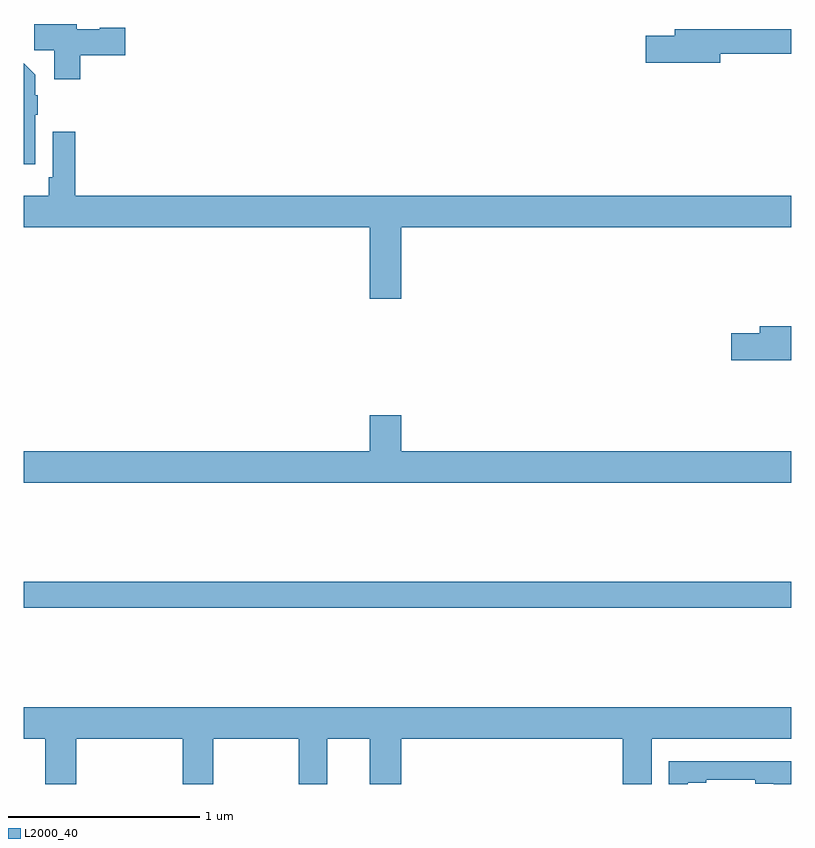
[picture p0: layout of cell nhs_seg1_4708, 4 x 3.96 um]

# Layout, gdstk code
import gdstk
lib = gdstk.Library(unit=1e-6, precision=1e-09)
def R(c, l, rs):  # rectangles x0, y0, x1, y1
    for r in rs: c.add(gdstk.rectangle(r[:2], r[2:], *l))
def P(c, l, *ps):  # polygons
    for p in ps: c.add(gdstk.Polygon(p, *l))
L2000_40 = (2000, 40)

nhs_seg1_4708 = lib.new_cell('nhs_seg1_4708')
R(nhs_seg1_4708, L2000_40, [(367,515.116,371,515.252)])
P(nhs_seg1_4708, L2000_40, [(367.295,517.996),(367.531,517.996),(367.531,518.139),(367.398,518.139),(367.398,518.131),(367.278,518.131),(367.278,518.158),(367.055,518.158),(367.055,518.02),(367.16,518.02),(367.16,517.871),(367.295,517.871)],
  [(370.63,518.002),(371,518.002),(371,518.131),(370.391,518.131),(370.391,518.097),(370.242,518.097),(370.242,517.955),(370.63,517.955)],
  [(367.06,517.684),(367.073,517.684),(367.073,517.787),(367.06,517.787),(367.06,517.894),(367,517.954),(367,517.428),(367.06,517.428)],
  [(368.968,517.1),(371,517.1),(371,517.264),(367.268,517.264),(367.268,517.597),(367.152,517.597),(367.152,517.36),(367.132,517.36),(367.132,517.264),(367,517.264),(367,517.1),(368.804,517.1),(368.804,516.726),(368.968,516.726)],
  [(371,516.584),(370.835,516.584),(370.835,516.548),(370.686,516.548),(370.686,516.406),(371,516.406)],
  [(371,515.932),(368.968,515.932),(368.968,516.121),(368.804,516.121),(368.804,515.932),(367,515.932),(367,515.768),(371,515.768)],
  [(367.274,514.436),(367.829,514.436),(367.829,514.199),(367.989,514.199),(367.989,514.436),(368.434,514.436),(368.434,514.199),(368.581,514.199),(368.581,514.436),(368.804,514.436),(368.804,514.199),(368.968,514.199),(368.968,514.436),(370.121,514.436),(370.121,514.199),(370.273,514.199),(370.273,514.436),(371,514.436),(371,514.6),(367,514.6),(367,514.436),(367.114,514.436),(367.114,514.199),(367.274,514.199)],
  [(370.459,514.206),(370.555,514.206),(370.555,514.221),(370.811,514.221),(370.811,514.201),(370.907,514.201),(370.907,514.199),(371,514.199),(371,514.317),(370.362,514.317),(370.362,514.199),(370.459,514.199)])

lib.write_gds('nhs_seg1_4708.gds')
